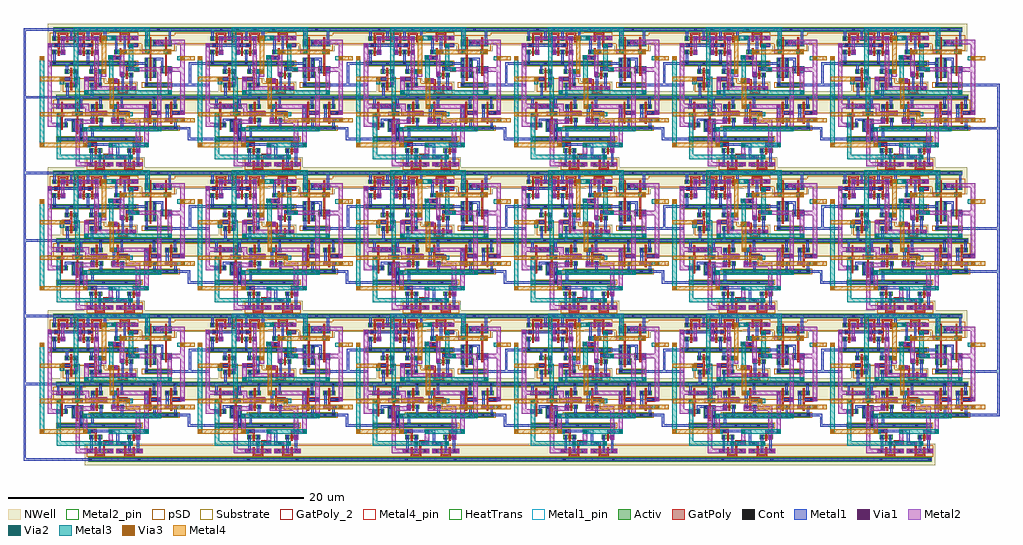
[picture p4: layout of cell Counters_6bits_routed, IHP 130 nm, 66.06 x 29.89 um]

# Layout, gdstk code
from math import pi, radians
import gdstk
lib = gdstk.Library(unit=1e-6, precision=5e-09)
def R(c, l, rs):  # rectangles x0, y0, x1, y1
    for r in rs: c.add(gdstk.rectangle(r[:2], r[2:], *l))
def A(c, l, x, y, w, h, nx, ny, dx, dy):  # array of equal rectangles
    R(c, l, [(x+i*dx, y+j*dy, x+i*dx+w, y+j*dy+h) for i in range(nx) for j in range(ny)])
Activ = (1, 0)
GatPoly = (5, 0)
GatPoly_2 = (5, 2)
Cont = (6, 0)
Metal1 = (8, 0)
Metal1_pin = (8, 2)
Metal2 = (10, 0)
Metal2_pin = (10, 2)
pSD = (14, 0)
Via1 = (19, 0)
Via2 = (29, 0)
Metal3 = (30, 0)
NWell = (31, 0)
Substrate = (40, 0)
Via3 = (49, 0)
Metal4 = (50, 0)
Metal4_pin = (50, 2)
HeatTrans = (51, 0)

pmos_2_14 = lib.new_cell('pmos$2$14')
R(pmos_2_14, Activ, [(0,0,0.3,0.3), (0,0,0.81,0.3), (0.51,0,0.81,0.3)])
R(pmos_2_14, GatPoly, [(0.34,-0.18,0.47,0.48), (0.34,-0.18,0.47,0.48)])
R(pmos_2_14, Cont, [(0.07,0.07,0.23,0.23), (0.58,0.07,0.74,0.23)])
R(pmos_2_14, Metal1, [(0.07,0,0.23,0.3), (0.07,0,0.23,0.3), (0.58,0,0.74,0.3), (0.58,0,0.74,0.3)])
R(pmos_2_14, pSD, [(-0.18,-0.3,0.99,0.6)])
R(pmos_2_14, NWell, [(-0.31,-0.31,1.12,0.61)])
R(pmos_2_14, Substrate, [(0.51,0,0.81,0.3)])
R(pmos_2_14, HeatTrans, [(0.34,-0.18,0.47,0.48)])
pmos_2_14.add(gdstk.Label('pmos', (0.405,0.15), layer=63, texttype=0))
pmos_2_14.add(gdstk.Label('pmos', (0.405,0.15), layer=51, texttype=0))

nmos_2_10 = lib.new_cell('nmos$2$10')
R(nmos_2_10, Activ, [(0,0,0.3,0.3), (0,0,0.81,0.3), (0.51,0,0.81,0.3)])
R(nmos_2_10, GatPoly, [(0.34,-0.18,0.47,0.48)])
R(nmos_2_10, GatPoly_2, [(0.34,-0.18,0.47,0.48)])
R(nmos_2_10, Cont, [(0.07,0.07,0.23,0.23), (0.58,0.07,0.74,0.23)])
R(nmos_2_10, Metal1, [(0.07,0,0.23,0.3), (0.58,0,0.74,0.3)])
R(nmos_2_10, Metal1_pin, [(0.07,0,0.23,0.3), (0.58,0,0.74,0.3)])
R(nmos_2_10, HeatTrans, [(0.34,-0.18,0.47,0.48)])
nmos_2_10.add(gdstk.Label('nmos', (0.405,0.15), layer=63, texttype=0))
nmos_2_10.add(gdstk.Label('nmos', (0.405,0.15), layer=51, texttype=0))

nmos_1_1_4 = lib.new_cell('nmos$1$1$4')
R(nmos_1_1_4, Activ, [(0,0,0.3,0.3), (0,0,0.81,0.9), (0.51,0,0.81,0.3)])
R(nmos_1_1_4, GatPoly, [(0.34,-0.18,0.47,1.08)])
R(nmos_1_1_4, GatPoly_2, [(0.34,-0.18,0.47,1.08)])
R(nmos_1_1_4, Cont, [(0.07,0.07,0.23,0.23), (0.58,0.07,0.74,0.23), (0.07,0.67,0.23,0.83), (0.58,0.67,0.74,0.83)])
R(nmos_1_1_4, Metal1, [(0.07,0,0.23,0.9), (0.58,0,0.74,0.9)])
R(nmos_1_1_4, Metal1_pin, [(0.07,0,0.23,0.9), (0.58,0,0.74,0.9)])
R(nmos_1_1_4, HeatTrans, [(0.34,-0.18,0.47,1.08)])
nmos_1_1_4.add(gdstk.Label('nmos', (0.405,0.45), layer=63, texttype=0))
nmos_1_1_4.add(gdstk.Label('nmos', (0.405,0.45), layer=51, texttype=0))

via1_constraint_1_7 = lib.new_cell('Via1_constraint$1$7')
R(via1_constraint_1_7, Metal1, [(-0.02,0,0.27,0.29)])
R(via1_constraint_1_7, Metal2, [(-0.02,0,0.27,0.29)])
R(via1_constraint_1_7, Via1, [(0.03,0.05,0.22,0.24)])

nand_d2_5 = lib.new_cell('NAND_D2$5')
R(nand_d2_5, Activ, [(-0.055,-0.945,1.805,-0.645), (0.06,1.885,1.92,2.185)])
R(nand_d2_5, GatPoly, [(1.45,0.315,1.58,1.07), (0.4,0.655,0.53,1.07), (1.58,0.72,1.88,1.02), (0.1,0.77,0.4,1.07)])
R(nand_d2_5, Cont, [(0.13,-0.875,0.29,-0.715), (1.65,0.79,1.81,0.95), (0.17,0.84,0.33,1), (0.885,1.955,1.045,2.115)])
R(nand_d2_5, Metal1, [(-0.055,-0.875,1.805,-0.715), (0.13,-0.875,0.29,-0.31), (1.62,0.015,1.92,0.315), (1.69,0.015,1.89,0.315), (1.58,0.72,1.88,1.02), (0.1,0.77,0.4,1.07), (0.64,1.25,1.34,1.55), (0.13,1.55,0.29,2.115), (1.69,1.55,1.85,2.115), (0.06,1.955,1.92,2.115)])
R(nand_d2_5, Metal1_pin, [(-0.055,-0.875,1.805,-0.715), (1.58,0.72,1.88,1.02), (0.1,0.77,0.4,1.07), (0.06,1.955,1.92,2.115)])
R(nand_d2_5, Metal2, [(1.625,0.02,2.49,0.31), (2.2,0.02,2.49,1.58), (0.85,1.29,2.2,1.58)])
R(nand_d2_5, Metal2_pin, [(2.2,0.735,2.49,1.025)])
R(nand_d2_5, pSD, [(-0.165,-0.975,1.89,-0.615)])
R(nand_d2_5, NWell, [(-0.25,1.86,2.23,2.425)])
nand_d2_5.add(gdstk.FlexPath([(1.26,0.305),(1.26,0.51),(0.72,0.51),(0.72,0.315)], 0.16, ends="flush", simple_path=True, layer=8, datatype=0))  # Metal1
nand_d2_5.add(gdstk.Reference(pmos_2_14, (1.92,1.25), rotation=pi, x_reflection=True))
nand_d2_5.add(gdstk.Reference(pmos_2_14, (0.87,1.25), rotation=pi, x_reflection=True))
nand_d2_5.add(gdstk.Reference(nmos_2_10, (1.92,0.015), rotation=pi, x_reflection=True))
nand_d2_5.add(gdstk.Reference(nmos_1_1_4, (0.87,-0.31), rotation=pi, x_reflection=True))
nand_d2_5.add(gdstk.Reference(via1_constraint_1_7, (1.625,0.02)))
nand_d2_5.add(gdstk.Reference(via1_constraint_1_7, (0.85,1.29)))
nand_d2_5.add(gdstk.Label('VSS', (0.2,-0.75), layer=8, texttype=2))
nand_d2_5.add(gdstk.Label('VA', (1.68,0.93), layer=8, texttype=2))
nand_d2_5.add(gdstk.Label('VB', (0.205,0.97), layer=8, texttype=2))
nand_d2_5.add(gdstk.Label('VDD', (1.715,2.075), layer=8, texttype=2))
nand_d2_5.add(gdstk.Label('VDD', (0.155,2.075), layer=8, texttype=2))
nand_d2_5.add(gdstk.Label('VOUT', (2.31,0.835), layer=10, texttype=25))

nmos_4_4 = lib.new_cell('nmos$4$4')
R(nmos_4_4, Activ, [(0,0.04,0.3,0.34), (0.57,0.04,0.87,0.34), (0,0.115,0.87,0.265)])
R(nmos_4_4, GatPoly, [(0.37,-0.065,0.5,0.445)])
R(nmos_4_4, GatPoly_2, [(0.37,-0.065,0.5,0.445)])
R(nmos_4_4, Cont, [(0.07,0.11,0.23,0.27), (0.64,0.11,0.8,0.27)])
R(nmos_4_4, Metal1, [(0.07,0.06,0.23,0.32), (0.64,0.06,0.8,0.32)])
R(nmos_4_4, Metal1_pin, [(0.07,0.06,0.23,0.32), (0.64,0.06,0.8,0.32)])
R(nmos_4_4, HeatTrans, [(0.37,-0.065,0.5,0.445)])
nmos_4_4.add(gdstk.Label('nmos', (0.435,0.19), layer=63, texttype=0))
nmos_4_4.add(gdstk.Label('nmos', (0.435,0.19), layer=51, texttype=0))

pmos_4_2 = lib.new_cell('pmos$4$2')
R(pmos_4_2, Activ, [(0,-0.04,0.3,0.26), (0.57,-0.04,0.87,0.26), (0,0.035,0.87,0.185)])
R(pmos_4_2, GatPoly, [(0.37,-0.145,0.5,0.365), (0.37,-0.145,0.5,0.365)])
R(pmos_4_2, Cont, [(0.07,0.03,0.23,0.19), (0.64,0.03,0.8,0.19)])
R(pmos_4_2, Metal1, [(0.07,-0.02,0.23,0.24), (0.07,-0.02,0.23,0.25), (0.64,-0.02,0.8,0.24), (0.64,-0.02,0.8,0.24)])
R(pmos_4_2, pSD, [(-0.18,-0.265,1.05,0.485)])
R(pmos_4_2, NWell, [(-0.31,-0.37,1.18,0.56)])
R(pmos_4_2, Substrate, [(0.57,-0.04,0.87,0.26)])
R(pmos_4_2, HeatTrans, [(0.37,-0.145,0.5,0.365)])
pmos_4_2.add(gdstk.Label('pmos', (0.435,0.11), layer=63, texttype=0))
pmos_4_2.add(gdstk.Label('pmos', (0.435,0.11), layer=51, texttype=0))

via1_constraint_2_6 = lib.new_cell('Via1_constraint$2$6')
R(via1_constraint_2_6, Metal1, [(0,0,0.29,0.29)])
R(via1_constraint_2_6, Metal2, [(0,0,0.29,0.29)])
R(via1_constraint_2_6, Via1, [(0.05,0.05,0.24,0.24)])

tg_2c_1 = lib.new_cell('TG_2C$1')
R(tg_2c_1, Activ, [(0.24,0.035,1.82,0.335), (0.24,2.325,1.82,2.625)])
R(tg_2c_1, GatPoly_2, [(0.26,0.415,0.81,0.715), (1.38,1.26,1.93,1.56)])
R(tg_2c_1, Cont, [(1.19,0.105,1.35,0.265), (0.31,2.395,0.47,2.555)])
R(tg_2c_1, Metal1, [(0.24,0.105,1.82,0.265), (0.26,0.465,0.8,0.645), (1.38,1.32,1.92,1.5), (0.42,1.75,0.54,2.04), (1.52,1.75,1.64,2.04), (0.24,2.395,1.82,2.555)])
R(tg_2c_1, Metal1_pin, [(0.24,0.105,1.82,0.265), (0.26,0.465,0.8,0.645), (0.95,0.88,1.11,1.035), (1.38,1.32,1.92,1.5), (0.24,2.395,1.82,2.555)])
R(tg_2c_1, pSD, [(0.13,0.005,1.93,0.365)])
R(tg_2c_1, NWell, [(0,2.345,2.06,2.87)])
tg_2c_1.add(gdstk.FlexPath([(1.03,2.04),(1.03,0.83)], 0.16, ends="flush", simple_path=True, layer=8, datatype=0))  # Metal1
tg_2c_1.add(gdstk.FlexPath([(0.46,2.04),(0.46,0.83)], 0.16, ends="flush", simple_path=True, layer=8, datatype=0))  # Metal1
tg_2c_1.add(gdstk.FlexPath([(0.31,1.895),(1.75,1.895),(1.75,1.895)], 0.29, ends="flush", simple_path=True, layer=10, datatype=0))  # Metal2
tg_2c_1.add(gdstk.FlexPath([(0.26,0.565),(0.81,0.565),(0.81,0.565)], 0.3, ends="flush", simple_path=True, layer=5, datatype=0))  # GatPoly
tg_2c_1.add(gdstk.FlexPath([(1.38,1.41),(1.93,1.41),(1.93,1.41)], 0.3, ends="flush", simple_path=True, layer=5, datatype=0))  # GatPoly
tg_2c_1.add(gdstk.FlexPath([(1.315,1.645),(1.315,1.34),(1.315,1.26)], 0.13, ends="flush", simple_path=True, layer=5, datatype=0))  # GatPoly
tg_2c_1.add(gdstk.FlexPath([(0.745,2.085),(0.745,2.185),(1.315,2.185),(1.315,2.085)], 0.13, ends="flush", simple_path=True, layer=5, datatype=0))  # GatPoly
tg_2c_1.add(gdstk.Reference(nmos_4_4, (0.31,0.77)))
tg_2c_1.add(gdstk.Reference(pmos_4_2, (0.31,1.79)))
tg_2c_1.add(gdstk.Reference(pmos_4_2, (0.88,1.79)))
tg_2c_1.add(gdstk.Reference(via1_constraint_2_6, (1.64,1.75)))
tg_2c_1.add(gdstk.Reference(via1_constraint_2_6, (0.13,1.75)))
tg_2c_1.add(gdstk.Label('VIN', (0.425,0.95), layer=8, texttype=25))
tg_2c_1.add(gdstk.Label('VOUT', (1.065,0.925), layer=8, texttype=25))
tg_2c_1.add(gdstk.Label('VDD', (0.33,2.455), layer=8, texttype=25))
tg_2c_1.add(gdstk.Label('VCTRLN', (0.495,0.515), layer=8, texttype=25))
tg_2c_1.add(gdstk.Label('VCTRLP', (1.66,1.35), layer=8, texttype=25))
tg_2c_1.add(gdstk.Label('VSS', (0.235,0.17), layer=8, texttype=25))

via2_constraint_10 = lib.new_cell('Via2_constraint$10')
R(via2_constraint_10, Metal2, [(-0.015,0,0.275,0.29)])
R(via2_constraint_10, Via2, [(0.035,0.05,0.225,0.24)])
R(via2_constraint_10, Metal3, [(-0.015,0,0.275,0.29)])

nmos_5_2 = lib.new_cell('nmos$5$2')
R(nmos_5_2, Activ, [(0,0,0.3,0.3), (0.57,0,0.87,0.3), (0,0.075,0.87,0.225)])
R(nmos_5_2, GatPoly, [(0.37,-0.105,0.5,0.405)])
R(nmos_5_2, GatPoly_2, [(0.37,-0.105,0.5,0.405)])
R(nmos_5_2, Cont, [(0.07,0.07,0.23,0.23), (0.64,0.07,0.8,0.23)])
R(nmos_5_2, Metal1, [(0.07,0.02,0.23,0.28), (0.64,0.02,0.8,0.28)])
R(nmos_5_2, Metal1_pin, [(0.07,0.02,0.23,0.28), (0.64,0.02,0.8,0.28)])
R(nmos_5_2, HeatTrans, [(0.37,-0.105,0.5,0.405)])
nmos_5_2.add(gdstk.Label('nmos', (0.435,0.15), layer=63, texttype=0))
nmos_5_2.add(gdstk.Label('nmos', (0.435,0.15), layer=51, texttype=0))

pmos_1_1_2 = lib.new_cell('pmos$1$1$2')
R(pmos_1_1_2, Activ, [(0,0,0.3,0.3), (0,0,0.81,0.3), (0.51,0,0.81,0.3)])
R(pmos_1_1_2, GatPoly, [(0.34,-0.18,0.47,0.48), (0.34,-0.18,0.47,0.48)])
R(pmos_1_1_2, Cont, [(0.07,0.07,0.23,0.23), (0.58,0.07,0.74,0.23)])
R(pmos_1_1_2, Metal1, [(0.07,0,0.23,0.3), (0.07,0,0.23,0.3), (0.58,0,0.74,0.3), (0.58,0,0.74,0.3)])
R(pmos_1_1_2, pSD, [(-0.18,-0.3,0.99,0.6)])
R(pmos_1_1_2, NWell, [(-0.31,-0.31,1.12,0.61)])
R(pmos_1_1_2, Substrate, [(0.51,0,0.81,0.3)])
R(pmos_1_1_2, HeatTrans, [(0.34,-0.18,0.47,0.48)])
pmos_1_1_2.add(gdstk.Label('pmos', (0.405,0.15), layer=63, texttype=0))
pmos_1_1_2.add(gdstk.Label('pmos', (0.405,0.15), layer=51, texttype=0))

inv_d1_9 = lib.new_cell('INV_D1$9')
R(inv_d1_9, Activ, [(0.28,0.03,1.15,0.33), (0.28,2.135,1.15,2.435)])
R(inv_d1_9, GatPoly, [(0.06,1.08,0.65,1.38), (0.65,1.11,0.78,1.325)])
R(inv_d1_9, GatPoly_2, [(0.06,1.08,0.65,1.38)])
R(inv_d1_9, Cont, [(0.35,0.1,0.51,0.26), (0.92,0.1,1.08,0.26), (0.13,1.15,0.29,1.31), (0.38,2.205,0.54,2.365)])
R(inv_d1_9, Metal1, [(0.28,0.1,1.15,0.26), (0.07,1.14,0.64,1.32), (0.28,2.205,1.15,2.365)])
R(inv_d1_9, Metal1_pin, [(0.28,0.1,1.15,0.26), (0.07,1.14,0.64,1.32), (0.89,1.14,1.08,1.32), (0.28,2.205,1.15,2.365)])
R(inv_d1_9, pSD, [(0.15,0,1.28,0.36)])
R(inv_d1_9, NWell, [(0,2.115,1.43,2.675)])
R(inv_d1_9, Substrate, [(0.82,1.505,1.12,1.805)])
inv_d1_9.add(gdstk.FlexPath([(0.46,1.805),(0.46,2.365)], 0.16, ends="flush", simple_path=True, layer=8, datatype=0))  # Metal1
inv_d1_9.add(gdstk.FlexPath([(0.985,0.585),(0.985,1.805)], 0.19, ends="flush", simple_path=True, layer=8, datatype=0))  # Metal1
inv_d1_9.add(gdstk.FlexPath([(0.43,0.865),(0.43,0.1)], 0.16, ends="flush", simple_path=True, layer=8, datatype=0))  # Metal1
inv_d1_9.add(gdstk.FlexPath([(0.715,1.11),(0.715,0.99)], 0.13, ends="flush", simple_path=True, layer=5, datatype=0))  # GatPoly
inv_d1_9.add(gdstk.Reference(nmos_5_2, (0.28,0.585)))
inv_d1_9.add(gdstk.Reference(pmos_1_1_2, (0.31,1.505)))
inv_d1_9.add(gdstk.Label('nmos', (0.715,0.655), layer=63, texttype=0))
inv_d1_9.add(gdstk.Label('VIN', (0.285,1.175), layer=8, texttype=25))
inv_d1_9.add(gdstk.Label('VOUT', (1.03,1.165), layer=8, texttype=25))
inv_d1_9.add(gdstk.Label('VDD', (0.655,2.28), layer=8, texttype=25))
inv_d1_9.add(gdstk.Label('VSS', (0.65,0.175), layer=8, texttype=25))

half_a_5 = lib.new_cell('HALF_A$5')
R(half_a_5, Activ, [(2.215,0.235,2.645,0.535), (2.215,2.525,2.645,2.825), (4.225,2.525,4.425,2.825), (2.645,3.25,3.2,3.55), (2.645,5.355,3.2,5.655), (4.07,5.355,4.54,5.655)])
R(half_a_5, GatPoly, [(2.535,1.6,3.215,1.67)])
R(half_a_5, Cont, [(2.61,1.425,2.77,1.585)])
R(half_a_5, Metal1, [(2.215,0.305,2.645,0.465), (2.135,1.365,2.315,2.395), (2.135,2.215,3.665,2.395), (0.43,2.235,0.655,2.415), (2.215,2.595,2.645,2.755), (3.84,2.595,4,3.48), (4.225,2.595,4.425,2.755), (2.645,3.32,3.2,3.48), (2.645,5.425,3.2,5.585), (4.07,5.425,4.54,5.585)])
R(half_a_5, Metal2, [(1.505,1.32,1.715,1.61), (3.57,1.32,3.78,1.61), (2.545,1.65,2.835,2.125), (0.71,1.735,1,3.99), (0.71,3.7,2.64,3.99), (5.855,4.195,6.065,4.485), (3.21,4.275,4.43,4.565), (4.14,4.565,4.43,5.05), (4.14,4.75,5.61,5.05)])
R(half_a_5, pSD, [(2.325,0.585,2.535,1.335), (2.325,2.495,2.535,2.855), (2.775,3.22,3.07,3.58), (2.795,4.425,3.05,5.325), (4.22,4.425,4.36,5.325)])
R(half_a_5, Metal3, [(1.505,1.32,3.28,1.61), (3.57,1.32,6.355,1.61), (6.065,1.32,6.355,4.195), (0.14,2.125,2.545,2.415)])
half_a_5.add(gdstk.Reference(nand_d2_5, (4.48,3.47)))
half_a_5.add(gdstk.Reference(tg_2c_1, (0.395,2.86), x_reflection=True))
half_a_5.add(gdstk.Reference(tg_2c_1, (4.465,2.86), rotation=pi))
half_a_5.add(gdstk.Reference(via1_constraint_1_7, (2.94,4.275)))
half_a_5.add(gdstk.Reference(via1_constraint_1_7, (0.73,1.735)))
half_a_5.add(gdstk.Reference(via1_constraint_1_7, (2.37,3.81)))
half_a_5.add(gdstk.Reference(via1_constraint_1_7, (2.565,1.36)))
half_a_5.add(gdstk.Reference(via2_constraint_10, (2.56,2.125)))
half_a_5.add(gdstk.Reference(via1_constraint_1_7, (0.16,2.125)))
half_a_5.add(gdstk.Reference(via2_constraint_10, (0.155,2.125)))
half_a_5.add(gdstk.Reference(via1_constraint_1_7, (1.235,1.32)))
half_a_5.add(gdstk.Reference(via1_constraint_1_7, (3.3,1.32)))
half_a_5.add(gdstk.Reference(via2_constraint_10, (1.23,1.32)))
half_a_5.add(gdstk.Reference(via2_constraint_10, (3.295,1.32)))
half_a_5.add(gdstk.Reference(via1_constraint_1_7, (6.085,4.195)))
half_a_5.add(gdstk.Reference(via2_constraint_10, (6.08,4.195)))
half_a_5.add(gdstk.Reference(inv_d1_9, (2.92,3.22)))
half_a_5.add(gdstk.Reference(inv_d1_9, (1.495,3.22)))

pmos_3_4 = lib.new_cell('pmos$3$4')
R(pmos_3_4, Activ, [(0,0,0.3,0.3), (0,0,0.81,0.45), (0.51,0,0.81,0.3)])
R(pmos_3_4, GatPoly, [(0.34,-0.18,0.47,0.63), (0.34,-0.18,0.47,0.63)])
R(pmos_3_4, Cont, [(0.07,0.145,0.23,0.305), (0.58,0.145,0.74,0.305)])
R(pmos_3_4, Metal1, [(0.07,0,0.23,0.45), (0.07,0,0.23,0.45), (0.58,0,0.74,0.45), (0.58,0,0.74,0.45)])
R(pmos_3_4, pSD, [(-0.18,-0.3,0.99,0.75)])
R(pmos_3_4, NWell, [(-0.31,-0.31,1.12,0.76)])
R(pmos_3_4, Substrate, [(0.51,0,0.81,0.3)])
R(pmos_3_4, HeatTrans, [(0.34,-0.18,0.47,0.63)])
pmos_3_4.add(gdstk.Label('pmos', (0.405,0.225), layer=63, texttype=0))
pmos_3_4.add(gdstk.Label('pmos', (0.405,0.225), layer=51, texttype=0))

nmos_1_2_2 = lib.new_cell('nmos$1$2$2')
R(nmos_1_2_2, Activ, [(0,0,0.3,0.3), (0,0,0.81,1.35), (0.51,0,0.81,0.3)])
R(nmos_1_2_2, GatPoly, [(0.34,-0.18,0.47,1.53)])
R(nmos_1_2_2, GatPoly_2, [(0.34,-0.18,0.47,1.53)])
A(nmos_1_2_2, Cont, 0.07, 0.07, 0.16, 0.16, 1, 4, 0, 0.35)
A(nmos_1_2_2, Cont, 0.58, 0.07, 0.16, 0.16, 1, 4, 0, 0.35)
R(nmos_1_2_2, Metal1, [(0.07,0,0.23,1.35), (0.58,0,0.74,1.35)])
R(nmos_1_2_2, Metal1_pin, [(0.07,0,0.23,1.35), (0.58,0,0.74,1.35)])
R(nmos_1_2_2, HeatTrans, [(0.34,-0.18,0.47,1.53)])
nmos_1_2_2.add(gdstk.Label('nmos', (0.405,0.675), layer=63, texttype=0))
nmos_1_2_2.add(gdstk.Label('nmos', (0.405,0.675), layer=51, texttype=0))

nmos_3_15 = lib.new_cell('nmos$3$15')
R(nmos_3_15, Activ, [(0,0,0.3,0.3), (0,0,0.81,0.45), (0.51,0,0.81,0.3)])
R(nmos_3_15, GatPoly, [(0.34,-0.18,0.47,0.63)])
R(nmos_3_15, GatPoly_2, [(0.34,-0.18,0.47,0.63)])
R(nmos_3_15, Cont, [(0.07,0.145,0.23,0.305), (0.58,0.145,0.74,0.305)])
R(nmos_3_15, Metal1, [(0.07,0,0.23,0.45), (0.58,0,0.74,0.45)])
R(nmos_3_15, Metal1_pin, [(0.07,0,0.23,0.45), (0.58,0,0.74,0.45)])
R(nmos_3_15, HeatTrans, [(0.34,-0.18,0.47,0.63)])
nmos_3_15.add(gdstk.Label('nmos', (0.405,0.225), layer=63, texttype=0))
nmos_3_15.add(gdstk.Label('nmos', (0.405,0.225), layer=51, texttype=0))

nand_d3_5 = lib.new_cell('NAND_D3$5')
R(nand_d3_5, Activ, [(0.31,0.03,2.055,0.33), (0.31,3.785,2.17,4.085)])
R(nand_d3_5, GatPoly, [(1.7,1.605,1.83,2.61), (0.65,2.075,0.78,2.61), (0.35,2.31,0.65,2.61), (1.83,2.31,2.13,2.61)])
R(nand_d3_5, Cont, [(0.38,0.1,0.54,0.26), (0.42,2.38,0.58,2.54), (1.9,2.38,2.06,2.54), (1.175,3.855,1.335,4.015)])
R(nand_d3_5, Metal1, [(0.31,0.1,2.055,0.26), (0.38,0.1,0.54,0.75), (1.89,1.085,2.18,1.375), (0.35,2.31,0.65,2.61), (1.83,2.31,2.13,2.61), (0.89,2.79,1.59,3.24), (0.38,3.09,0.54,4.015), (1.94,3.09,2.1,4.015), (0.31,3.855,2.17,4.015)])
R(nand_d3_5, Metal1_pin, [(0.31,0.1,2.055,0.26), (0.35,2.31,0.65,2.61), (1.83,2.31,2.13,2.61), (0.31,3.855,2.17,4.015)])
R(nand_d3_5, Metal2, [(1.89,1.08,3.035,1.375), (2.745,1.08,3.035,3.235), (1.09,2.945,3.035,3.235)])
R(nand_d3_5, Metal2_pin, [(2.745,1.85,3.035,2.14)])
R(nand_d3_5, pSD, [(0.12,0,2.175,0.36)])
R(nand_d3_5, NWell, [(0,3.55,2.48,4.33)])
nand_d3_5.add(gdstk.FlexPath([(1.51,1.425),(1.51,1.93),(0.97,1.93),(0.97,1.735)], 0.16, ends="flush", simple_path=True, layer=8, datatype=0))  # Metal1
nand_d3_5.add(gdstk.Reference(pmos_3_4, (2.17,2.79), rotation=pi, x_reflection=True))
nand_d3_5.add(gdstk.Reference(pmos_3_4, (1.12,2.79), rotation=pi, x_reflection=True))
nand_d3_5.add(gdstk.Reference(nmos_1_2_2, (1.12,0.66), rotation=pi, x_reflection=True))
nand_d3_5.add(gdstk.Reference(nmos_3_15, (2.17,0.985), rotation=pi, x_reflection=True))
nand_d3_5.add(gdstk.Reference(via1_constraint_1_7, (1.89,1.085)))
nand_d3_5.add(gdstk.Reference(via1_constraint_1_7, (1.09,2.945)))
nand_d3_5.add(gdstk.Label('VB', (0.455,2.51), layer=8, texttype=2))
nand_d3_5.add(gdstk.Label('VA', (1.935,2.52), layer=8, texttype=2))
nand_d3_5.add(gdstk.Label('VDD', (1.965,3.975), layer=8, texttype=2))
nand_d3_5.add(gdstk.Label('VDD', (0.405,3.975), layer=8, texttype=2))
nand_d3_5.add(gdstk.Label('VSS', (0.45,0.225), layer=8, texttype=2))
nand_d3_5.add(gdstk.Label('VOUT', (2.935,2.035), layer=10, texttype=2))

pmos_26 = lib.new_cell('pmos$26')
R(pmos_26, Activ, [(0,0,0.3,0.3), (0.57,0,0.87,0.3), (0,0.075,0.87,0.225)])
R(pmos_26, GatPoly, [(0.37,-0.105,0.5,0.405), (0.37,-0.105,0.5,0.405)])
R(pmos_26, Cont, [(0.07,0.07,0.23,0.23), (0.64,0.07,0.8,0.23)])
R(pmos_26, Metal1, [(0.07,0.02,0.23,0.28), (0.07,0.02,0.23,0.28), (0.64,0.02,0.8,0.28), (0.64,0.02,0.8,0.28)])
R(pmos_26, pSD, [(-0.18,-0.225,1.05,0.525)])
R(pmos_26, NWell, [(-0.31,-0.31,1.18,0.61)])
R(pmos_26, Substrate, [(0.57,0,0.87,0.3)])
R(pmos_26, HeatTrans, [(0.37,-0.105,0.5,0.405)])
pmos_26.add(gdstk.Label('pmos', (0.435,0.15), layer=63, texttype=0))
pmos_26.add(gdstk.Label('pmos', (0.435,0.15), layer=51, texttype=0))

nmos_1_14 = lib.new_cell('nmos$1$14')
R(nmos_1_14, Activ, [(0,0,0.3,0.3), (0.57,0,0.87,0.3), (0,0.075,0.87,0.225)])
R(nmos_1_14, GatPoly, [(0.37,-0.105,0.5,0.405)])
R(nmos_1_14, GatPoly_2, [(0.37,-0.105,0.5,0.405)])
R(nmos_1_14, Cont, [(0.07,0.07,0.23,0.23), (0.64,0.07,0.8,0.23)])
R(nmos_1_14, Metal1, [(0.07,0.02,0.23,0.28), (0.64,0.02,0.8,0.28)])
R(nmos_1_14, Metal1_pin, [(0.07,0.02,0.23,0.28), (0.64,0.02,0.8,0.28)])
R(nmos_1_14, HeatTrans, [(0.37,-0.105,0.5,0.405)])
nmos_1_14.add(gdstk.Label('nmos', (0.435,0.15), layer=63, texttype=0))
nmos_1_14.add(gdstk.Label('nmos', (0.435,0.15), layer=51, texttype=0))

inv_5 = lib.new_cell('INV$5')
R(inv_5, Activ, [(-0.6,-1.445,1.235,-1.145), (-0.345,0.845,0.955,1.145)])
R(inv_5, GatPoly, [(-0.045,-0.365,0.085,0.135), (-0.045,0.645,0.655,0.775)])
R(inv_5, GatPoly_2, [(-0.045,-0.285,0.085,0.135)])
R(inv_5, Cont, [(-0.345,-1.375,-0.185,-1.215), (0.24,0.915,0.4,1.075)])
R(inv_5, Metal1, [(-0.6,-1.375,1.235,-1.215), (-0.345,-1.375,-0.185,-0.49), (-0.345,0.26,-0.185,1.075), (0.205,0.26,0.405,0.52), (0.795,0.26,0.955,1.075), (-0.345,0.915,0.955,1.075)])
R(inv_5, Metal1_pin, [(-0.6,-1.375,1.235,-1.215), (-0.345,-1.375,-0.185,-1.215), (-0.345,0.915,-0.185,1.075), (-0.345,0.915,0.955,1.075), (0.795,0.915,0.955,1.075)])
R(inv_5, Metal2, [(0.205,-0.69,0.405,0.49)])
R(inv_5, Metal2_pin, [(0.205,-0.195,0.405,-0.01)])
R(inv_5, pSD, [(-0.73,-1.475,1.365,-1.115)])
r = gdstk.Reference(pmos_26, (-0.415,0.24)); r.repetition = gdstk.Repetition(2, 1, v1=(0.57,0), v2=(0,0)); inv_5.add(r)
inv_5.add(gdstk.Reference(nmos_1_14, (-0.415,-0.69)))

via1_constraint_13 = lib.new_cell('Via1_constraint$13')
R(via1_constraint_13, Metal1, [(-0.005,-0.005,0.285,0.285)])
R(via1_constraint_13, Metal2, [(-0.005,-0.005,0.285,0.285)])
R(via1_constraint_13, Via1, [(0.045,0.045,0.235,0.235)])

inv_d3_5 = lib.new_cell('INV_D3$5')
R(inv_d3_5, GatPoly, [(0.435,1.055,0.685,1.355), (2.145,1.055,2.395,1.355), (2.715,1.055,2.965,1.355)])
R(inv_d3_5, GatPoly_2, [(0.435,1.055,0.685,1.355), (2.145,1.055,2.395,1.355), (2.715,1.055,2.965,1.355)])
R(inv_d3_5, Cont, [(0.385,-0.1,0.545,0.06), (0.515,1.125,0.675,1.285), (2.225,1.125,2.385,1.285), (2.795,1.125,2.955,1.285)])
A(inv_d3_5, Metal1, 0.89, 0.56, 0.29, 0.03, 3, 1, 1.14, 0)
R(inv_d3_5, Metal1, [(0.13,-0.1,4.245,0.06), (0.465,1.115,0.685,1.295), (0.465,1.115,3.01,1.295), (2.175,1.115,2.395,1.295), (2.785,1.115,2.965,1.295), (0.89,1.79,1.18,1.82), (2.025,1.79,2.315,1.82), (3.17,1.79,3.46,1.82), (0.385,2.19,3.965,2.35)])
R(inv_d3_5, Metal1_pin, [(0.13,-0.1,4.245,0.06), (0.385,-0.1,0.545,0.06), (0.465,1.115,0.685,1.295), (2.175,1.115,2.395,1.295), (2.785,1.115,2.965,1.295), (0.385,2.19,0.545,2.35), (0.385,2.19,3.965,2.35)])
R(inv_d3_5, Metal2, [(0.935,1.565,3.415,1.765)])
R(inv_d3_5, NWell, [(0.005,2.125,4.345,2.66)])
r = gdstk.Reference(inv_5, (0.73,1.275)); r.repetition = gdstk.Repetition(2, 1, v1=(2.28,0), v2=(0,0)); inv_d3_5.add(r)
inv_d3_5.add(gdstk.Reference(inv_5, (2.48,1.275), rotation=pi, x_reflection=True))
inv_d3_5.add(gdstk.Reference(via1_constraint_13, (0.895,0.595)))
inv_d3_5.add(gdstk.Reference(via1_constraint_13, (2.035,0.595)))
inv_d3_5.add(gdstk.Reference(via1_constraint_13, (3.175,0.595)))
inv_d3_5.add(gdstk.Reference(via1_constraint_13, (0.895,1.505)))
inv_d3_5.add(gdstk.Reference(via1_constraint_13, (2.03,1.505)))
inv_d3_5.add(gdstk.Reference(via1_constraint_13, (3.175,1.505)))
inv_d3_5.add(gdstk.Label('VSS', (0.5,0.035), layer=8, texttype=2))
inv_d3_5.add(gdstk.Label('VIN', (0.675,1.235), layer=8, texttype=2))
inv_d3_5.add(gdstk.Label('VIN', (0.675,1.235), layer=8, texttype=2))
inv_d3_5.add(gdstk.Label('VIN', (0.675,1.235), layer=8, texttype=2))
inv_d3_5.add(gdstk.Label('VDD', (0.515,2.325), layer=8, texttype=2))
inv_d3_5.add(gdstk.Label('VIN', (0.655,1.19), layer=8, texttype=25))
inv_d3_5.add(gdstk.Label('VDD', (1.315,2.265), layer=8, texttype=25))
inv_d3_5.add(gdstk.Label('VSS', (1.515,-0.02), layer=8, texttype=25))
inv_d3_5.add(gdstk.Label('VOUT', (3.325,1.23), layer=10, texttype=25))

nmos_7 = lib.new_cell('nmos$7')
R(nmos_7, Activ, [(0,0,0.3,0.3), (0.57,0,0.87,0.3), (0,0.075,0.87,0.225)])
R(nmos_7, GatPoly, [(0.37,-0.105,0.5,0.405)])
R(nmos_7, GatPoly_2, [(0.37,-0.105,0.5,0.405)])
R(nmos_7, Cont, [(0.07,0.07,0.23,0.23), (0.64,0.07,0.8,0.23)])
R(nmos_7, Metal1, [(0.07,0.02,0.23,0.28), (0.64,0.02,0.8,0.28)])
R(nmos_7, Metal1_pin, [(0.07,0.02,0.23,0.28), (0.64,0.02,0.8,0.28)])
R(nmos_7, HeatTrans, [(0.37,-0.105,0.5,0.405)])
nmos_7.add(gdstk.Label('nmos', (0.435,0.15), layer=63, texttype=0))
nmos_7.add(gdstk.Label('nmos', (0.435,0.15), layer=51, texttype=0))

pmos_1_9 = lib.new_cell('pmos$1$9')
R(pmos_1_9, Activ, [(0,0,0.3,0.3), (0,0,0.81,0.3), (0.51,0,0.81,0.3)])
R(pmos_1_9, GatPoly, [(0.34,-0.18,0.47,0.48), (0.34,-0.18,0.47,0.48)])
R(pmos_1_9, Cont, [(0.07,0.07,0.23,0.23), (0.58,0.07,0.74,0.23)])
R(pmos_1_9, Metal1, [(0.07,0,0.23,0.3), (0.07,0,0.23,0.3), (0.58,0,0.74,0.3), (0.58,0,0.74,0.3)])
R(pmos_1_9, pSD, [(-0.18,-0.3,0.99,0.6)])
R(pmos_1_9, NWell, [(-0.31,-0.31,1.12,0.61)])
R(pmos_1_9, Substrate, [(0.51,0,0.81,0.3)])
R(pmos_1_9, HeatTrans, [(0.34,-0.18,0.47,0.48)])
pmos_1_9.add(gdstk.Label('pmos', (0.405,0.15), layer=63, texttype=0))
pmos_1_9.add(gdstk.Label('pmos', (0.405,0.15), layer=51, texttype=0))

inv_d1_1_2 = lib.new_cell('INV_D1$1$2')
R(inv_d1_1_2, Activ, [(0.28,0.03,1.15,0.33), (0.28,2.32,1.15,2.62)])
R(inv_d1_1_2, GatPoly, [(0.06,1.08,0.65,1.38), (0.65,1.11,0.78,1.325)])
R(inv_d1_1_2, GatPoly_2, [(0.06,1.08,0.65,1.38)])
R(inv_d1_1_2, Cont, [(0.645,0.1,0.805,0.26), (0.13,1.15,0.29,1.31)])
R(inv_d1_1_2, Metal1, [(0.28,0.1,1.15,0.26), (0.07,1.14,0.64,1.32), (0.28,2.39,1.15,2.55)])
R(inv_d1_1_2, Metal1_pin, [(0.28,0.1,1.15,0.26), (0.07,1.14,0.64,1.32), (0.89,1.14,1.08,1.32), (0.28,2.39,1.15,2.55)])
R(inv_d1_1_2, pSD, [(0.15,0,1.28,0.36)])
R(inv_d1_1_2, NWell, [(0,2.115,1.43,2.865)])
R(inv_d1_1_2, Substrate, [(0.82,1.505,1.12,1.805)])
inv_d1_1_2.add(gdstk.FlexPath([(0.46,1.805),(0.46,2.55)], 0.16, ends="flush", simple_path=True, layer=8, datatype=0))  # Metal1
inv_d1_1_2.add(gdstk.FlexPath([(0.985,0.585),(0.985,1.805)], 0.19, ends="flush", simple_path=True, layer=8, datatype=0))  # Metal1
inv_d1_1_2.add(gdstk.FlexPath([(0.43,0.865),(0.43,0.1)], 0.16, ends="flush", simple_path=True, layer=8, datatype=0))  # Metal1
inv_d1_1_2.add(gdstk.FlexPath([(0.715,1.11),(0.715,0.99)], 0.13, ends="flush", simple_path=True, layer=5, datatype=0))  # GatPoly
inv_d1_1_2.add(gdstk.Reference(nmos_7, (0.28,0.585)))
inv_d1_1_2.add(gdstk.Reference(pmos_1_9, (0.31,1.505)))
inv_d1_1_2.add(gdstk.Label('nmos', (0.715,0.655), layer=63, texttype=0))
inv_d1_1_2.add(gdstk.Label('VDD', (0.655,2.465), layer=8, texttype=25))
inv_d1_1_2.add(gdstk.Label('VIN', (0.285,1.175), layer=8, texttype=25))
inv_d1_1_2.add(gdstk.Label('VOUT', (1.03,1.165), layer=8, texttype=25))
inv_d1_1_2.add(gdstk.Label('VSS', (0.65,0.175), layer=8, texttype=25))

via3_constraint_6 = lib.new_cell('Via3_constraint$6')
R(via3_constraint_6, Metal3, [(0,0,0.29,0.29)])
R(via3_constraint_6, Via3, [(0.05,0.05,0.24,0.24)])
R(via3_constraint_6, Metal4, [(0,0,0.29,0.29)])

half_b_5 = lib.new_cell('HALF_B$5')
R(half_b_5, Activ, [(3.965,0.245,4.43,0.545), (6.01,0.245,6.56,0.545), (4.245,2.535,4.43,2.835), (3.69,4.825,4.295,5.125)])
R(half_b_5, Metal1, [(3.965,0.315,4.43,0.475), (6.01,0.315,6.56,0.475), (4.405,2.225,4.455,2.405), (4.245,2.605,4.43,2.765), (6.01,2.605,6.79,2.765), (5.855,2.965,5.925,3.145), (3.69,4.895,4.295,5.055)])
R(half_b_5, Metal2, [(5.505,1.66,5.795,1.87), (7.875,1.725,8.085,2.015), (4.89,1.83,5.18,3.56), (4.405,2.135,4.615,2.425), (5.715,2.945,5.925,3.235), (8.12,3.245,8.41,4.805), (4.165,3.71,4.51,4), (2.485,3.88,2.775,4.515)])
R(half_b_5, pSD, [(4.215,0.595,4.32,1.345), (6.12,0.79,6.38,1.345), (3.84,4.025,4.185,4.775), (2.67,4.61,3.84,4.775)])
R(half_b_5, Metal3, [(5.505,1.66,5.795,3.235), (7.875,1.725,8.085,2.015), (4.725,1.765,4.935,2.055), (4.165,2.425,4.455,4), (5.505,2.945,6.215,3.235), (2.775,4.515,8.41,4.805)])
R(half_b_5, NWell, [(3.97,3.91,4.055,5.37)])
R(half_b_5, Metal4, [(4.89,1.755,8.38,2.055)])
half_b_5.add(gdstk.Reference(via2_constraint_10, (4.18,3.71)))
half_b_5.add(gdstk.Reference(via2_constraint_10, (4.13,2.135)))
half_b_5.add(gdstk.Reference(via1_constraint_1_7, (4.135,2.135)))
half_b_5.add(gdstk.Reference(via1_constraint_1_7, (4.46,3.71)))
half_b_5.add(gdstk.Reference(tg_2c_1, (6.115,2.5), rotation=pi, x_reflection=True))
half_b_5.add(gdstk.Reference(nand_d3_5, (6.25,4.33), x_reflection=True))
half_b_5.add(gdstk.Reference(tg_2c_1, (4.19,2.87), x_reflection=True))
half_b_5.add(gdstk.Reference(inv_d3_5, (0,2.665), x_reflection=True))
half_b_5.add(gdstk.Reference(inv_d1_1_2, (2.54,2.505)))
half_b_5.add(gdstk.Reference(via1_constraint_1_7, (5.945,2.945)))
half_b_5.add(gdstk.Reference(via1_constraint_1_7, (5.525,1.37)))
half_b_5.add(gdstk.Reference(via2_constraint_10, (5.94,2.945)))
half_b_5.add(gdstk.Reference(via2_constraint_10, (5.52,1.37)))
half_b_5.add(gdstk.Reference(via1_constraint_1_7, (4.91,3.27)))
half_b_5.add(gdstk.Reference(via1_constraint_1_7, (2.505,3.59)))
half_b_5.add(gdstk.Reference(via2_constraint_10, (2.5,4.515)))
half_b_5.add(gdstk.Reference(via2_constraint_10, (8.135,4.515)))
half_b_5.add(gdstk.Reference(via3_constraint_6, (4.935,1.755)))
half_b_5.add(gdstk.Reference(via2_constraint_10, (4.95,1.755)))
half_b_5.add(gdstk.Reference(via1_constraint_1_7, (8.105,1.725)))
half_b_5.add(gdstk.Reference(via2_constraint_10, (8.1,1.725)))
half_b_5.add(gdstk.Reference(via3_constraint_6, (8.085,1.725)))
half_b_5.add(gdstk.Reference(via1_constraint_1_7, (4.955,1.755)))

ff_d_placement_5 = lib.new_cell('FF_D_placement$5')
R(ff_d_placement_5, Activ, [(5.195,3.26,6.51,3.56), (7.38,3.26,7.94,3.56), (5.875,5.365,6.51,5.665), (7.38,5.365,7.94,5.665)])
R(ff_d_placement_5, Metal1, [(7.38,3.33,7.94,3.49), (5.875,5.435,6.51,5.595), (7.38,5.435,7.94,5.595)])
R(ff_d_placement_5, pSD, [(5.325,3.23,6.38,3.59), (7.51,3.23,7.815,3.59), (7.53,4.435,7.79,5.335), (2.185,5.88,2.67,6.78)])
R(ff_d_placement_5, NWell, [(5.475,4.425,6.23,5.12), (6.115,5.12,6.23,5.905), (2.315,5.905,2.54,6.79)])
ff_d_placement_5.add(gdstk.Reference(half_a_5, (6.97,0.01), rotation=pi, x_reflection=True))
ff_d_placement_5.add(gdstk.Reference(half_b_5, (0,10.49), x_reflection=True))
ff_d_placement_5.add(gdstk.Reference(inv_d1_1_2, (0.885,7.985), x_reflection=True))
ff_d_placement_5.add(gdstk.Reference(inv_d1_9, (7.66,3.23), rotation=pi, x_reflection=True))
ff_d_placement_5.add(gdstk.Reference(inv_d1_9, (9.09,3.23), rotation=pi, x_reflection=True))

ff_d_routed_5 = lib.new_cell('FF_D_routed$5')
R(ff_d_routed_5, Cont, [(5.755,1.38,5.915,1.54)])
R(ff_d_routed_5, Metal1, [(0.305,0.315,3.595,0.475), (3.545,2.225,3.615,2.405), (6.045,3.33,7.36,3.49), (9.66,3.33,10.49,3.49), (0.29,5.435,1.42,5.595), (9.155,6.26,11.775,6.42), (4.47,7.1,4.635,7.39), (1.09,8.94,1.315,9.12), (-0.78,10.015,1.235,10.175)])
R(ff_d_routed_5, Metal1_pin, [(5.685,4.37,6.255,4.55), (7.43,4.37,7.62,4.55), (7.87,4.37,8.44,4.55), (1.805,6.665,2.375,6.845), (2.625,6.665,2.815,6.845)])
R(ff_d_routed_5, Metal2, [(2.74,0.83,3.485,1.12), (2.74,0.83,3.03,3.995), (7.39,2.135,7.68,4.74), (3.255,2.425,3.545,3.2), (8.265,3.2,8.555,4.31), (2.74,3.705,4.045,3.995), (9.085,3.81,10.14,4.11), (2.52,4.25,2.73,4.54), (8.265,4.31,8.555,7.545), (9.845,4.325,10.135,7.25), (5.18,4.74,7.39,5.03), (0.85,5.025,1.14,8.885), (4.02,5.95,4.305,8.415), (4.02,5.95,5.035,6.24), (2.625,6.39,2.915,6.6), (4.515,6.89,4.805,7.1), (7.065,7.255,8.555,7.545), (7.245,8.475,7.455,8.765)])
R(ff_d_routed_5, Metal2_pin, [(9.85,3.81,10.14,4.11), (9.845,8.01,10.135,8.3)])
R(ff_d_routed_5, Metal3, [(3.255,3.2,8.265,3.49), (2.73,4.54,3.02,6.89), (5.335,4.74,5.545,5.03), (2.625,6.6,2.915,10.255), (4.305,7.1,4.515,7.39), (7.455,8.765,7.75,10.255), (4.805,9.37,5.17,9.66), (2.625,9.965,7.75,10.255)])
R(ff_d_routed_5, Metal4, [(5.045,4.74,5.335,6.49), (5.045,6.49,5.335,6.78), (4.515,7.39,4.805,9.66)])
ff_d_routed_5.add(gdstk.Reference(ff_d_placement_5, (0.85,0)))
ff_d_routed_5.add(gdstk.Reference(via1_constraint_1_7, (0.87,8.885)))
ff_d_routed_5.add(gdstk.Reference(via1_constraint_1_7, (9.865,4.325)))
ff_d_routed_5.add(gdstk.Reference(via1_constraint_1_7, (8.815,3.82)))
ff_d_routed_5.add(gdstk.Reference(via1_constraint_1_7, (8.285,4.31)))
ff_d_routed_5.add(gdstk.Reference(via3_constraint_6, (4.965,6.49)))
ff_d_routed_5.add(gdstk.Reference(via1_constraint_1_7, (7.41,4.74)))
ff_d_routed_5.add(gdstk.Reference(via3_constraint_6, (5.045,4.74)))
ff_d_routed_5.add(gdstk.Reference(via2_constraint_10, (5.06,4.74)))
ff_d_routed_5.add(gdstk.Reference(via1_constraint_1_7, (3.275,2.135)))
ff_d_routed_5.add(gdstk.Reference(via2_constraint_10, (8.28,3.2)))
ff_d_routed_5.add(gdstk.Reference(via2_constraint_10, (3.27,3.2)))
ff_d_routed_5.add(gdstk.Reference(via1_constraint_1_7, (3.775,3.765)))
ff_d_routed_5.add(gdstk.Reference(via1_constraint_1_7, (4.535,7.1)))
ff_d_routed_5.add(gdstk.Reference(via2_constraint_10, (4.53,7.1)))
ff_d_routed_5.add(gdstk.Reference(via3_constraint_6, (4.515,7.1)))
ff_d_routed_5.add(gdstk.Reference(via3_constraint_6, (4.515,9.37)))
ff_d_routed_5.add(gdstk.Reference(via2_constraint_10, (5.185,9.37)))
ff_d_routed_5.add(gdstk.Reference(via1_constraint_1_7, (2.75,4.25)))
ff_d_routed_5.add(gdstk.Reference(via2_constraint_10, (2.745,4.25)))
ff_d_routed_5.add(gdstk.Reference(via2_constraint_10, (2.64,6.6)))
ff_d_routed_5.add(gdstk.Reference(via1_constraint_1_7, (2.645,6.6)))
ff_d_routed_5.add(gdstk.Reference(via1_constraint_13, (7.46,8.48)))
ff_d_routed_5.add(gdstk.Reference(via2_constraint_10, (7.47,8.475)))
ff_d_routed_5.add(gdstk.Label('VD', (5.965,4.41), layer=8, texttype=25))
ff_d_routed_5.add(gdstk.Label('VCLK', (8.14,4.4), layer=8, texttype=25))
ff_d_routed_5.add(gdstk.Label('VCLKN', (7.565,4.41), layer=8, texttype=25))
ff_d_routed_5.add(gdstk.Label('VRESET', (2.11,6.805), layer=8, texttype=25))
ff_d_routed_5.add(gdstk.Label('VRESETN', (2.65,6.815), layer=8, texttype=25))
ff_d_routed_5.add(gdstk.Label('VDD', (2.735,10.095), layer=8, texttype=25))
ff_d_routed_5.add(gdstk.Label('VSS', (2.11,2.67), layer=8, texttype=25))
ff_d_routed_5.add(gdstk.Label('VQ', (10,8.115), layer=10, texttype=25))
ff_d_routed_5.add(gdstk.Label('VQN', (9.98,3.965), layer=10, texttype=25))

ff_d_2 = lib.new_cell('FF_D$2')
R(ff_d_2, GatPoly, [(6.705,7.25,6.77,7.55), (6.77,7.25,7.07,7.55), (6.35,8.825,6.645,8.88)])
R(ff_d_2, Cont, [(3.775,2.225,3.935,2.385), (6.875,2.225,7.035,2.385), (5.255,6.5,5.415,6.66), (6.84,7.32,7,7.48), (6.31,7.345,6.47,7.505), (5.465,8.105,5.625,8.265), (6.42,8.895,6.58,9.055)])
R(ff_d_2, Metal1, [(6.125,4.5,6.415,4.55)])
R(ff_d_2, Metal2, [(6.415,4.21,6.625,4.5), (1.68,6.39,1.97,6.6)])
R(ff_d_2, pSD, [(6.195,4.435,7.21,5.335)])
R(ff_d_2, Metal3, [(0.33,2.135,0.62,8.3), (3.545,2.135,3.755,2.425), (9.64,3.81,9.85,4.1), (6.415,4.21,6.625,4.5), (1.68,6.39,1.97,6.6), (9.635,8.01,9.845,8.3)])
R(ff_d_2, Metal4, [(0.33,2.135,3.255,2.425), (6.125,3.81,9.85,4.1), (6.125,3.81,6.415,4.5), (9.85,3.81,10.795,4.1), (0.35,4.21,6.125,4.5), (0.34,6.61,1.97,6.89), (9.845,8.01,10.8,8.3)])
R(ff_d_2, Metal4_pin, [(0.33,2.135,0.62,2.425), (10.505,3.81,10.795,4.1), (0.35,4.21,0.64,4.5), (0.34,6.61,0.63,6.89), (10.51,8.01,10.8,8.3)])
ff_d_2.add(gdstk.Reference(ff_d_routed_5, (0,0)))
ff_d_2.add(gdstk.Reference(via3_constraint_6, (9.845,8.01)))
ff_d_2.add(gdstk.Reference(via2_constraint_10, (9.86,8.01)))
ff_d_2.add(gdstk.Reference(via2_constraint_10, (9.865,3.81)))
ff_d_2.add(gdstk.Reference(via3_constraint_6, (9.85,3.81)))
ff_d_2.add(gdstk.Reference(via2_constraint_10, (3.27,2.135)))
ff_d_2.add(gdstk.Reference(via3_constraint_6, (3.255,2.135)))
ff_d_2.add(gdstk.Reference(via1_constraint_13, (6.13,4.215)))
ff_d_2.add(gdstk.Reference(via2_constraint_10, (6.14,4.21)))
ff_d_2.add(gdstk.Reference(via3_constraint_6, (6.125,4.21)))
ff_d_2.add(gdstk.Reference(via3_constraint_6, (1.68,6.6)))
ff_d_2.add(gdstk.Reference(via1_constraint_13, (1.685,6.605)))
ff_d_2.add(gdstk.Reference(via2_constraint_10, (1.695,6.6)))
ff_d_2.add(gdstk.Reference(via3_constraint_6, (0.33,2.135)))
ff_d_2.add(gdstk.Reference(via3_constraint_6, (0.33,8.01)))
ff_d_2.add(gdstk.Label('VQ', (10.635,8.155), layer=50, texttype=25))
ff_d_2.add(gdstk.Label('VQN', (10.665,3.995), layer=50, texttype=25))
ff_d_2.add(gdstk.Label('VCLK', (0.415,2.265), layer=50, texttype=25))
ff_d_2.add(gdstk.Label('VD', (0.43,4.345), layer=50, texttype=25))
ff_d_2.add(gdstk.Label('VRESET', (0.44,6.755), layer=50, texttype=25))

ff_d_track_1 = lib.new_cell('FF_D_Track$1')
ff_d_track_1.add(gdstk.Reference(ff_d_2, (0,0)))

counters_6bits_placement = lib.new_cell('Counters_6bits_placement')
r = gdstk.Reference(ff_d_track_1, (0,0)); r.repetition = gdstk.Repetition(6, 3, v1=(10.7,0), v2=(0,9.7)); counters_6bits_placement.add(r)

counters_6bits_routed = lib.new_cell('Counters_6bits_routed')
A(counters_6bits_routed, Activ, 7.185, 0.245, 7.11, 0.3, 5, 1, 10.7, 0)
A(counters_6bits_routed, Activ, 9.66, 5.365, 2.46, 0.3, 5, 3, 10.7, 9.7)
A(counters_6bits_routed, Activ, 9.27, 9.945, 2.665, 0.3, 5, 3, 10.7, 9.7)
A(counters_6bits_routed, Metal1, 7.185, 0.315, 3.82, 0.16, 5, 1, 10.7, 0)
A(counters_6bits_routed, Metal1, 10.33, 2.605, 1.905, 0.16, 5, 3, 10.7, 9.7)
A(counters_6bits_routed, Metal1, 10.33, 2.605, 0.16, 0.885, 5, 3, 10.7, 9.7)
A(counters_6bits_routed, Metal1, 63.99, 3.33, 1.285, 0.16, 1, 3, 0, 9.7)
A(counters_6bits_routed, Metal1, -0.78, 5.435, 1.07, 0.16, 1, 3, 0, 9.7)
A(counters_6bits_routed, Metal1, 9.66, 5.435, 1.33, 0.16, 5, 3, 10.7, 9.7)
A(counters_6bits_routed, Metal1, 10.41, 6.26, 0.16, 1.625, 5, 3, 10.7, 9.7)
A(counters_6bits_routed, Metal1, 10.41, 7.725, 1.27, 0.16, 5, 3, 10.7, 9.7)
A(counters_6bits_routed, Metal1, 9.27, 10.015, 1.3, 0.16, 5, 3, 10.7, 9.7)
R(counters_6bits_routed, Metal1, [(-0.78,0.315,-0.62,29.575), (-0.78,0.315,0.305,0.475), (65.115,3.33,65.275,25.82), (10.41,27.125,11.68,27.285), (10.41,27.125,11.68,27.285)])
A(counters_6bits_routed, pSD, 7.295, 0.595, 6.89, 0.75, 5, 1, 10.7, 0)
A(counters_6bits_routed, pSD, 9.45, 9.115, 2.235, 0.75, 5, 3, 10.7, 9.7)
A(counters_6bits_routed, pSD, 9.81, 23.83, 2.13, 0.905, 4, 1, 10.7, 0)
R(counters_6bits_routed, pSD, [(9.81,4.43,11.94,5.335), (20.51,4.43,22.64,5.335), (31.21,4.43,33.34,5.33), (41.91,4.43,44.04,5.335), (52.61,4.43,54.74,5.335), (20.51,14.13,22.64,15.035), (31.21,14.13,33.34,15.035), (9.81,14.135,11.94,15.03), (41.91,14.135,44.04,15.03), (52.61,14.135,54.74,15.03), (52.61,23.835,54.74,24.73)])
A(counters_6bits_routed, NWell, 7.425, 0, 6.63, 1.45, 5, 1, 10.7, 0)
A(counters_6bits_routed, NWell, 9.94, 4.42, 1.87, 1.485, 5, 3, 10.7, 9.7)
A(counters_6bits_routed, NWell, 9.58, 9.03, 1.975, 1.46, 5, 2, 10.7, 9.7)
A(counters_6bits_routed, NWell, 20.28, 28.43, 1.975, 1.46, 4, 1, 10.7, 0)
R(counters_6bits_routed, NWell, [(9.58,28.43,11.555,29.885)])
counters_6bits_routed.add(gdstk.Reference(counters_6bits_placement, (0,0)))

lib.write_gds('Counters_6bits_routed.gds')
